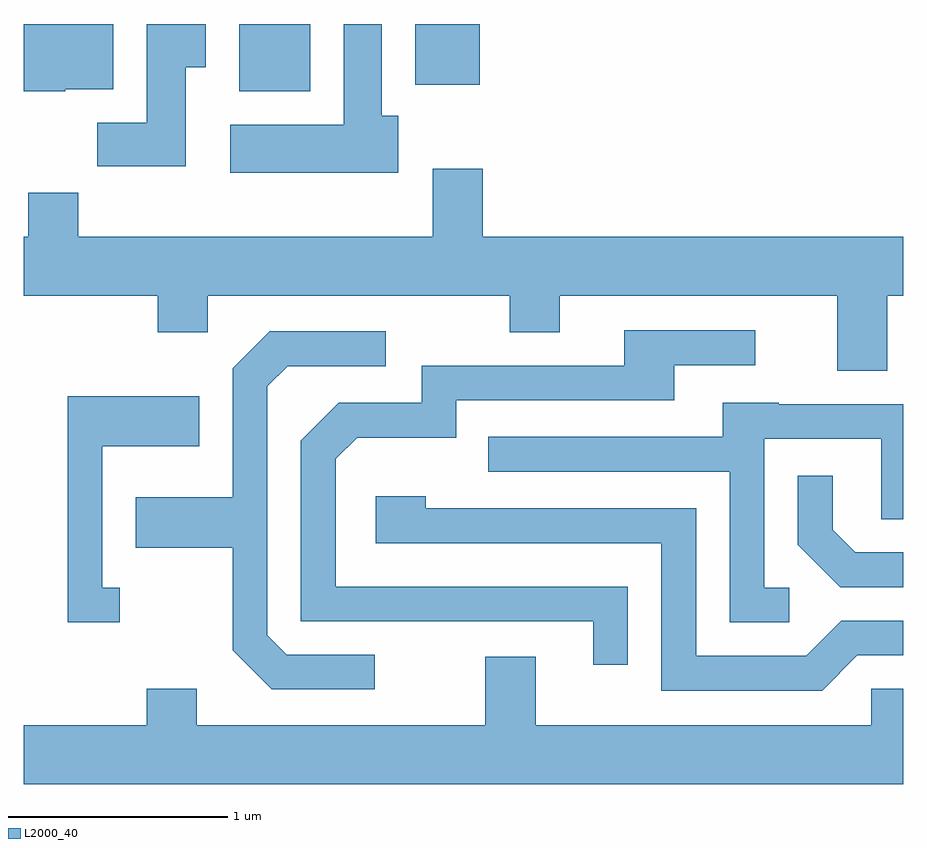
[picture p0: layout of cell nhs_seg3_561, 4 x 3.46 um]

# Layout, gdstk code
import gdstk
lib = gdstk.Library(unit=1e-6, precision=1e-09)
def R(c, l, rs):  # rectangles x0, y0, x1, y1
    for r in rs: c.add(gdstk.rectangle(r[:2], r[2:], *l))
def P(c, l, *ps):  # polygons
    for p in ps: c.add(gdstk.Polygon(p, *l))
L2000_40 = (2000, 40)

nhs_seg3_561 = lib.new_cell('nhs_seg3_561')
R(nhs_seg3_561, L2000_40, [(202.591,1153.586,202.914,1153.892), (203.391,1153.616,203.684,1153.892)])
P(nhs_seg3_561, L2000_40, [(201.8,1153.596),(202.019,1153.596),(202.019,1153.892),(201.611,1153.892),(201.611,1153.586),(201.8,1153.586)],
  [(202.349,1153.696),(202.439,1153.696),(202.439,1153.892),(202.171,1153.892),(202.171,1153.444),(201.946,1153.444),(201.946,1153.246),(202.349,1153.246)],
  [(203.314,1153.474),(203.239,1153.474),(203.239,1153.892),(203.066,1153.892),(203.066,1153.434),(202.551,1153.434),(202.551,1153.216),(203.314,1153.216)],
  [(205.539,1152.656),(205.611,1152.656),(205.611,1152.924),(203.699,1152.924),(203.699,1153.234),(203.471,1153.234),(203.471,1152.924),(201.859,1152.924),(201.859,1153.124),(201.631,1153.124),(201.631,1152.924),(201.611,1152.924),(201.611,1152.656),(202.221,1152.656),(202.221,1152.491),(202.449,1152.491),(202.449,1152.656),(203.821,1152.656),(203.821,1152.491),(204.049,1152.491),(204.049,1152.656),(205.311,1152.656),(205.311,1152.316),(205.539,1152.316)],
  [(204.359,1151.334),(203.029,1151.334),(203.029,1151.914),(203.127,1152.011),(203.579,1152.011),(203.579,1152.181),(204.569,1152.181),(204.569,1152.341),(204.938,1152.341),(204.938,1152.499),(204.341,1152.499),(204.341,1152.339),(203.421,1152.339),(203.421,1152.169),(203.044,1152.169),(202.871,1151.997),(202.871,1151.176),(204.201,1151.176),(204.201,1150.978),(204.359,1150.978)],
  [(203.208,1151.024),(202.807,1151.024),(202.719,1151.112),(202.719,1152.244),(202.812,1152.336),(203.258,1152.336),(203.258,1152.494),(202.729,1152.494),(202.561,1152.327),(202.561,1151.739),(202.121,1151.739),(202.121,1151.511),(202.561,1151.511),(202.561,1151.044),(202.739,1150.866),(203.208,1150.866)],
  [(202.048,1151.329),(201.969,1151.329),(201.969,1151.971),(202.409,1151.971),(202.409,1152.199),(201.811,1152.199),(201.811,1151.171),(202.048,1151.171)],
  [(205.093,1151.329),(204.979,1151.329),(204.979,1152.006),(205.511,1152.006),(205.511,1151.641),(205.611,1151.641),(205.611,1152.164),(205.045,1152.164),(205.045,1152.169),(204.791,1152.169),(204.791,1152.014),(203.723,1152.014),(203.723,1151.856),(204.821,1151.856),(204.821,1151.171),(205.093,1151.171)],
  [(205.611,1151.489),(205.392,1151.489),(205.289,1151.592),(205.289,1151.838),(205.131,1151.838),(205.131,1151.524),(205.324,1151.331),(205.611,1151.331)],
  [(205.402,1151.021),(205.611,1151.021),(205.611,1151.179),(205.329,1151.179),(205.169,1151.019),(204.669,1151.019),(204.669,1151.689),(203.439,1151.689),(203.439,1151.744),(203.211,1151.744),(203.211,1151.531),(204.511,1151.531),(204.511,1150.861),(205.242,1150.861)],
  [(205.611,1150.869),(205.466,1150.869),(205.466,1150.704),(203.939,1150.704),(203.939,1151.014),(203.711,1151.014),(203.711,1150.704),(202.399,1150.704),(202.399,1150.869),(202.171,1150.869),(202.171,1150.704),(201.611,1150.704),(201.611,1150.436),(205.611,1150.436)])

lib.write_gds('nhs_seg3_561.gds')
